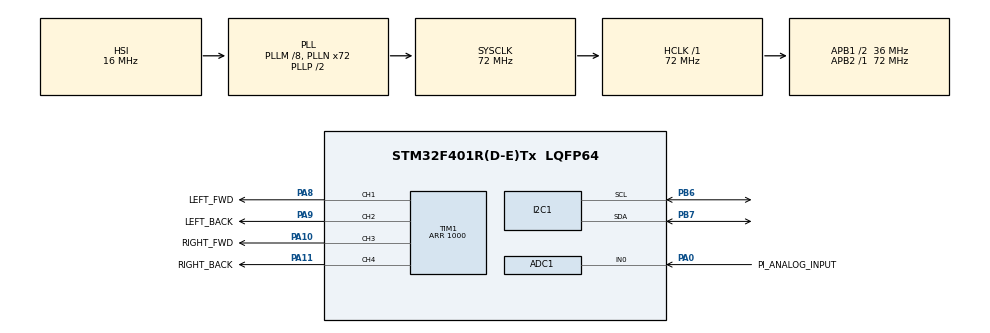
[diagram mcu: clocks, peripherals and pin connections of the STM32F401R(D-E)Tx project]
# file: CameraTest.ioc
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ADC1.Channel-0\#ChannelRegularConversion=ADC_CHANNEL_0
ADC1.ClockPrescaler=ADC_CLOCK_SYNC_PCLK_DIV2
ADC1.ContinuousConvMode=ENABLE
ADC1.DMAContinuousRequests=DISABLE
ADC1.DataAlign=ADC_DATAALIGN_RIGHT
ADC1.DiscontinuousConvMode=DISABLE
ADC1.EOCSelection=ADC_EOC_SEQ_CONV
ADC1.EnableAnalogWatchDog=false
ADC1.ExternalTrigConv=ADC_SOFTWARE_START
ADC1.ExternalTrigConvEdge=ADC_EXTERNALTRIGCONVEDGE_NONE
ADC1.InjNumberOfConversion=0
ADC1.NbrOfConversion=1
ADC1.NbrOfConversionFlag=1
ADC1.Rank-0\#ChannelRegularConversion=1
ADC1.Resolution=ADC_RESOLUTION_12B
ADC1.SamplingTime-0\#ChannelRegularConversion=ADC_SAMPLETIME_3CYCLES
ADC1.ScanConvMode=DISABLE
ADC1.master=1
Mcu.Family=STM32F4
Mcu.Name=STM32F401R(D-E)Tx
Mcu.Package=LQFP64
NVIC.PriorityGroup=NVIC_PRIORITYGROUP_4
PA0-WKUP.GPIO_Label=PI_ANALOG_INPUT
PA0-WKUP.Signal=ADCx_IN0
PA10.GPIO_Label=RIGHT_FWD
PA10.Signal=S_TIM1_CH3
PA11.GPIO_Label=RIGHT_BACK
PA11.Signal=S_TIM1_CH4
PA8.GPIO_Label=LEFT_FWD
PA8.Signal=S_TIM1_CH1
PA9.GPIO_Label=LEFT_BACK
PA9.Signal=S_TIM1_CH2
PB6.Mode=I2C
PB6.Signal=I2C1_SCL
PB7.Mode=I2C
PB7.Signal=I2C1_SDA
ProjectManager.HeapSize=0x200
ProjectManager.StackSize=0x400
ProjectManager.TargetToolchain=Makefile
RCC.48MHZClocksFreq_Value=36000000
RCC.AHBFreq_Value=72000000
RCC.APB1CLKDivider=RCC_HCLK_DIV2
RCC.APB1Freq_Value=36000000
RCC.APB1TimFreq_Value=72000000
RCC.APB2Freq_Value=72000000
RCC.APB2TimFreq_Value=72000000
RCC.CortexFreq_Value=72000000
RCC.HCLKFreq_Value=72000000
RCC.HSE_VALUE=25000000
RCC.HSI_VALUE=16000000
RCC.LSE_VALUE=32768
RCC.PLLM=8
RCC.PLLN=72
RCC.SYSCLKFreq_VALUE=72000000
RCC.SYSCLKSource=RCC_SYSCLKSOURCE_PLLCLK
RCC.VCOOutputFreq_Value=144000000
SH.ADCx_IN0.0=ADC1_IN0,IN0
SH.S_TIM1_CH1.0=TIM1_CH1,PWM Generation1 CH1
SH.S_TIM1_CH2.0=TIM1_CH2,PWM Generation2 CH2
SH.S_TIM1_CH3.0=TIM1_CH3,PWM Generation3 CH3
SH.S_TIM1_CH4.0=TIM1_CH4,PWM Generation4 CH4
TIM1.Channel-PWM\ Generation1\ CH1=TIM_CHANNEL_1
TIM1.Channel-PWM\ Generation2\ CH2=TIM_CHANNEL_2
TIM1.Channel-PWM\ Generation3\ CH3=TIM_CHANNEL_3
TIM1.Channel-PWM\ Generation4\ CH4=TIM_CHANNEL_4
TIM1.Period=1000
VP_TIM1_VS_ClockSourceINT.Mode=Internal
board=custom

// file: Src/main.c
/**
  ******************************************************************************
  * @file           : main.c
  * @brief          : Main program body
  ******************************************************************************
  ** This notice applies to any and all portions of this file
  * that are not between comment pairs USER CODE BEGIN and
  * USER CODE END. Other portions of this file, whether
  * inserted by the user or by software development tools
  * are owned by their respective copyright owners.
  *
  * COPYRIGHT(c) 2018 STMicroelectronics
  *
  * Redistribution and use in source and binary forms, with or without modification,
  * are permitted provided that the following conditions are met:
  *   1. Redistributions of source code must retain the above copyright notice,
  *      this list of conditions and the following disclaimer.
  *   2. Redistributions in binary form must reproduce the above copyright notice,
  *      this list of conditions and the following disclaimer in the documentation
  *      and/or other materials provided with the distribution.
  *   3. Neither the name of STMicroelectronics nor the names of its contributors
  *      may be used to endorse or promote products derived from this software
  *      without specific prior written permission.
  *
  * THIS SOFTWARE IS PROVIDED BY THE COPYRIGHT HOLDERS AND CONTRIBUTORS "AS IS"
  * AND ANY EXPRESS OR IMPLIED WARRANTIES, INCLUDING, BUT NOT LIMITED TO, THE
  * IMPLIED WARRANTIES OF MERCHANTABILITY AND FITNESS FOR A PARTICULAR PURPOSE ARE
  * DISCLAIMED. IN NO EVENT SHALL THE COPYRIGHT HOLDER OR CONTRIBUTORS BE LIABLE
  * FOR ANY DIRECT, INDIRECT, INCIDENTAL, SPECIAL, EXEMPLARY, OR CONSEQUENTIAL
  * DAMAGES (INCLUDING, BUT NOT LIMITED TO, PROCUREMENT OF SUBSTITUTE GOODS OR
  * SERVICES; LOSS OF USE, DATA, OR PROFITS; OR BUSINESS INTERRUPTION) HOWEVER
  * CAUSED AND ON ANY THEORY OF LIABILITY, WHETHER IN CONTRACT, STRICT LIABILITY,
  * OR TORT (INCLUDING NEGLIGENCE OR OTHERWISE) ARISING IN ANY WAY OUT OF THE USE
  * OF THIS SOFTWARE, EVEN IF ADVISED OF THE POSSIBILITY OF SUCH DAMAGE.
  *
  ******************************************************************************
  */
#include "main.h"
#include "stm32f4xx_hal.h"

/* USER CODE BEGIN Includes */
#include "ssd1306.h"
#include "fonts.h"
/* USER CODE END Includes */

ADC_HandleTypeDef hadc1;

I2C_HandleTypeDef hi2c1;

TIM_HandleTypeDef htim1;

/* USER CODE BEGIN PV */
/* Private variables ---------------------------------------------------------*/
#define MOTOR_SPEED 1000
/* USER CODE END PV */

void SystemClock_Config(void);
static void MX_GPIO_Init(void);
static void MX_ADC1_Init(void);
static void MX_TIM1_Init(void);
static void MX_I2C1_Init(void);

void HAL_TIM_MspPostInit(TIM_HandleTypeDef *htim);

/* USER CODE BEGIN PFP */
/* Private function prototypes -----------------------------------------------*/
void print(char msg[], int row);
void update_motor_speed(int m, uint32_t speed[]);
/* USER CODE END PFP */

int main(void)
{

  /* MCU Configuration----------------------------------------------------------*/

  /* Reset of all peripherals, Initializes the Flash interface and the Systick. */
  HAL_Init();

  /* Configure the system clock */
  SystemClock_Config();

  /* Initialize all configured peripherals */
  MX_GPIO_Init();
  MX_ADC1_Init();
  MX_TIM1_Init();
  MX_I2C1_Init();
  /* USER CODE BEGIN 2 */
  HAL_TIM_PWM_Start(&htim1, TIM_CHANNEL_1);
  HAL_TIM_PWM_Start(&htim1, TIM_CHANNEL_3);
  ssd1306_Init();

  HAL_ADC_Start(&hadc1);
  print("Starting", 0);
  uint16_t speed[] = {1,1};
  /* USER CODE END 2 */

  /* Infinite loop */
  /* USER CODE BEGIN WHILE */
  while (1)
  {
    if (HAL_ADC_PollForConversion(&hadc1, 10000) == HAL_OK){
      int err = HAL_ADC_GetValue(&hadc1) - 2047;
      char err_string[20]="";
      sprintf(err_string, "Err: %d", err);
      print(err_string, 0);
      // TODO: Move motors
      if(err > 0){
        speed[0] = 0.84;
        speed[1] = 0.84 + 0.16 * err / 2047.0;
      } else {
        speed[0] = 0.84 - 0.16 * err / 2047.0;
        speed[1] = 0.84;
      }
      update_motor_speed(1, speed);
    }
  /* USER CODE END WHILE */

  }

}

void SystemClock_Config(void)
{

  RCC_OscInitTypeDef RCC_OscInitStruct;
  RCC_ClkInitTypeDef RCC_ClkInitStruct;

    /**Configure the main internal regulator output voltage
    */
  __HAL_RCC_PWR_CLK_ENABLE();

  __HAL_PWR_VOLTAGESCALING_CONFIG(PWR_REGULATOR_VOLTAGE_SCALE2);

    /**Initializes the CPU, AHB and APB busses clocks
    */
  RCC_OscInitStruct.OscillatorType = RCC_OSCILLATORTYPE_HSI;
  RCC_OscInitStruct.HSIState = RCC_HSI_ON;
  RCC_OscInitStruct.HSICalibrationValue = 16;
  RCC_OscInitStruct.PLL.PLLState = RCC_PLL_ON;
  RCC_OscInitStruct.PLL.PLLSource = RCC_PLLSOURCE_HSI;
  RCC_OscInitStruct.PLL.PLLM = 8;
  RCC_OscInitStruct.PLL.PLLN = 72;
  RCC_OscInitStruct.PLL.PLLP = RCC_PLLP_DIV2;
  RCC_OscInitStruct.PLL.PLLQ = 4;
  if (HAL_RCC_OscConfig(&RCC_OscInitStruct) != HAL_OK)
  {
    _Error_Handler(__FILE__, __LINE__);
  }

    /**Initializes the CPU, AHB and APB busses clocks
    */
  RCC_ClkInitStruct.ClockType = RCC_CLOCKTYPE_HCLK|RCC_CLOCKTYPE_SYSCLK
                              |RCC_CLOCKTYPE_PCLK1|RCC_CLOCKTYPE_PCLK2;
  RCC_ClkInitStruct.SYSCLKSource = RCC_SYSCLKSOURCE_PLLCLK;
  RCC_ClkInitStruct.AHBCLKDivider = RCC_SYSCLK_DIV1;
  RCC_ClkInitStruct.APB1CLKDivider = RCC_HCLK_DIV2;
  RCC_ClkInitStruct.APB2CLKDivider = RCC_HCLK_DIV1;

  if (HAL_RCC_ClockConfig(&RCC_ClkInitStruct, FLASH_LATENCY_2) != HAL_OK)
  {
    _Error_Handler(__FILE__, __LINE__);
  }

    /**Configure the Systick interrupt time
    */
  HAL_SYSTICK_Config(HAL_RCC_GetHCLKFreq()/1000);

    /**Configure the Systick
    */
  HAL_SYSTICK_CLKSourceConfig(SYSTICK_CLKSOURCE_HCLK);

  /* SysTick_IRQn interrupt configuration */
  HAL_NVIC_SetPriority(SysTick_IRQn, 0, 0);
}

/* ADC1 init function */
static void MX_ADC1_Init(void)
{

  ADC_ChannelConfTypeDef sConfig;

    /**Configure the global features of the ADC (Clock, Resolution, Data Alignment and number of conversion)
    */
  hadc1.Instance = ADC1;
  hadc1.Init.ClockPrescaler = ADC_CLOCK_SYNC_PCLK_DIV2;
  hadc1.Init.Resolution = ADC_RESOLUTION_12B;
  hadc1.Init.ScanConvMode = DISABLE;
  hadc1.Init.ContinuousConvMode = ENABLE;
  hadc1.Init.DiscontinuousConvMode = DISABLE;
  hadc1.Init.ExternalTrigConvEdge = ADC_EXTERNALTRIGCONVEDGE_NONE;
  hadc1.Init.ExternalTrigConv = ADC_SOFTWARE_START;
  hadc1.Init.DataAlign = ADC_DATAALIGN_RIGHT;
  hadc1.Init.NbrOfConversion = 1;
  hadc1.Init.DMAContinuousRequests = DISABLE;
  hadc1.Init.EOCSelection = ADC_EOC_SEQ_CONV;
  if (HAL_ADC_Init(&hadc1) != HAL_OK)
  {
    _Error_Handler(__FILE__, __LINE__);
  }

    /**Configure for the selected ADC regular channel its corresponding rank in the sequencer and its sample time.
    */
  sConfig.Channel = ADC_CHANNEL_0;
  sConfig.Rank = 1;
  sConfig.SamplingTime = ADC_SAMPLETIME_3CYCLES;
  if (HAL_ADC_ConfigChannel(&hadc1, &sConfig) != HAL_OK)
  {
    _Error_Handler(__FILE__, __LINE__);
  }

}

/* I2C1 init function */
static void MX_I2C1_Init(void)
{

  hi2c1.Instance = I2C1;
  hi2c1.Init.ClockSpeed = 100000;
  hi2c1.Init.DutyCycle = I2C_DUTYCYCLE_2;
  hi2c1.Init.OwnAddress1 = 0;
  hi2c1.Init.AddressingMode = I2C_ADDRESSINGMODE_7BIT;
  hi2c1.Init.DualAddressMode = I2C_DUALADDRESS_DISABLE;
  hi2c1.Init.OwnAddress2 = 0;
  hi2c1.Init.GeneralCallMode = I2C_GENERALCALL_DISABLE;
  hi2c1.Init.NoStretchMode = I2C_NOSTRETCH_DISABLE;
  if (HAL_I2C_Init(&hi2c1) != HAL_OK)
  {
    _Error_Handler(__FILE__, __LINE__);
  }

}

/* TIM1 init function */
static void MX_TIM1_Init(void)
{

  TIM_ClockConfigTypeDef sClockSourceConfig;
  TIM_MasterConfigTypeDef sMasterConfig;
  TIM_OC_InitTypeDef sConfigOC;
  TIM_BreakDeadTimeConfigTypeDef sBreakDeadTimeConfig;

  htim1.Instance = TIM1;
  htim1.Init.Prescaler = 0;
  htim1.Init.CounterMode = TIM_COUNTERMODE_UP;
  htim1.Init.Period = 1000;
  htim1.Init.ClockDivision = TIM_CLOCKDIVISION_DIV1;
  htim1.Init.RepetitionCounter = 0;
  if (HAL_TIM_Base_Init(&htim1) != HAL_OK)
  {
    _Error_Handler(__FILE__, __LINE__);
  }

  sClockSourceConfig.ClockSource = TIM_CLOCKSOURCE_INTERNAL;
  if (HAL_TIM_ConfigClockSource(&htim1, &sClockSourceConfig) != HAL_OK)
  {
    _Error_Handler(__FILE__, __LINE__);
  }

  if (HAL_TIM_PWM_Init(&htim1) != HAL_OK)
  {
    _Error_Handler(__FILE__, __LINE__);
  }

  sMasterConfig.MasterOutputTrigger = TIM_TRGO_RESET;
  sMasterConfig.MasterSlaveMode = TIM_MASTERSLAVEMODE_DISABLE;
  if (HAL_TIMEx_MasterConfigSynchronization(&htim1, &sMasterConfig) != HAL_OK)
  {
    _Error_Handler(__FILE__, __LINE__);
  }

  sConfigOC.OCMode = TIM_OCMODE_PWM1;
  sConfigOC.Pulse = 0;
  sConfigOC.OCPolarity = TIM_OCPOLARITY_HIGH;
  sConfigOC.OCNPolarity = TIM_OCNPOLARITY_HIGH;
  sConfigOC.OCFastMode = TIM_OCFAST_DISABLE;
  sConfigOC.OCIdleState = TIM_OCIDLESTATE_RESET;
  sConfigOC.OCNIdleState = TIM_OCNIDLESTATE_RESET;
  if (HAL_TIM_PWM_ConfigChannel(&htim1, &sConfigOC, TIM_CHANNEL_1) != HAL_OK)
  {
    _Error_Handler(__FILE__, __LINE__);
  }

  if (HAL_TIM_PWM_ConfigChannel(&htim1, &sConfigOC, TIM_CHANNEL_2) != HAL_OK)
  {
    _Error_Handler(__FILE__, __LINE__);
  }

  if (HAL_TIM_PWM_ConfigChannel(&htim1, &sConfigOC, TIM_CHANNEL_3) != HAL_OK)
  {
    _Error_Handler(__FILE__, __LINE__);
  }

  if (HAL_TIM_PWM_ConfigChannel(&htim1, &sConfigOC, TIM_CHANNEL_4) != HAL_OK)
  {
    _Error_Handler(__FILE__, __LINE__);
  }

  sBreakDeadTimeConfig.OffStateRunMode = TIM_OSSR_DISABLE;
  sBreakDeadTimeConfig.OffStateIDLEMode = TIM_OSSI_DISABLE;
  sBreakDeadTimeConfig.LockLevel = TIM_LOCKLEVEL_OFF;
  sBreakDeadTimeConfig.DeadTime = 0;
  sBreakDeadTimeConfig.BreakState = TIM_BREAK_DISABLE;
  sBreakDeadTimeConfig.BreakPolarity = TIM_BREAKPOLARITY_HIGH;
  sBreakDeadTimeConfig.AutomaticOutput = TIM_AUTOMATICOUTPUT_DISABLE;
  if (HAL_TIMEx_ConfigBreakDeadTime(&htim1, &sBreakDeadTimeConfig) != HAL_OK)
  {
    _Error_Handler(__FILE__, __LINE__);
  }

  HAL_TIM_MspPostInit(&htim1);

}

/** Pinout Configuration
*/
static void MX_GPIO_Init(void)
{

  /* GPIO Ports Clock Enable */
  __HAL_RCC_GPIOA_CLK_ENABLE();
  __HAL_RCC_GPIOB_CLK_ENABLE();

}

/* USER CODE BEGIN 4 */
void update_motor_speed(int m, uint32_t speed[]){
    __HAL_TIM_SET_COMPARE(&htim1, TIM_CHANNEL_1, speed[0]/100.0*MOTOR_SPEED);
    __HAL_TIM_SET_COMPARE(&htim1, TIM_CHANNEL_3, speed[1]/100.0*MOTOR_SPEED);
}

void print(char msg[], int row){
    if(row==0){
        ssd1306_Fill(Black);
    }
    ssd1306_SetCursor(0,row*10);
    ssd1306_WriteString(msg,Font_7x10,White);
    ssd1306_UpdateScreen();
}
/* USER CODE END 4 */

void _Error_Handler(char *file, int line)
{
  while(1)
  {
  }
}

/************************ (C) COPYRIGHT STMicroelectronics *****END OF FILE****/
